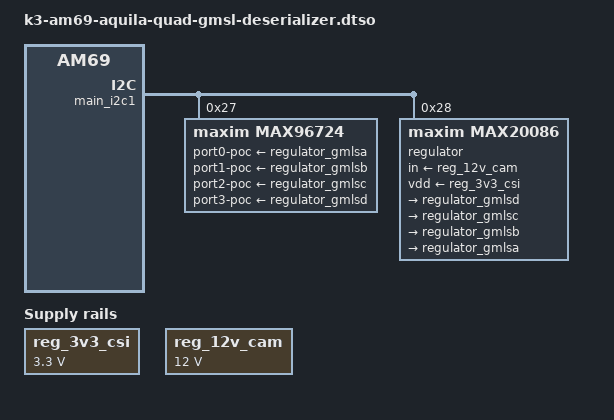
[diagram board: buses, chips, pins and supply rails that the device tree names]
// SPDX-License-Identifier: GPL-2.0-or-later OR MIT
/*
 * Aquila AM69 GMLS MAX96724 Deserializer
 *
 */

/dts-v1/;
/plugin/;

#include <dt-bindings/media/video-interfaces.h>

/ {
	compatible = "toradex,aquila-am69";
};

&{/} {
	reg_3v3_csi: regulator-3v3-csi {
		compatible = "regulator-fixed";
		regulator-name = "V_CSI";
		regulator-min-microvolt = <3300000>;
		regulator-max-microvolt = <3300000>;
	};

	reg_12v_cam: regulator-12v-cam {
		compatible = "regulator-fixed";
		regulator-name = "V_12V_IN";
		regulator-min-microvolt = <12000000>;
		regulator-max-microvolt = <12000000>;
	};
};

/* Aquila I2C_4_CSI1 */
&main_i2c1 {
	#address-cells = <1>;
	#size-cells = <0>;
	status = "okay";

	max96724: gmsl-deserializer@27 {
		compatible = "maxim,max96724";
		reg = <0x27>;
		port0-poc-supply = <&regulator_gmlsa>;
		port1-poc-supply = <&regulator_gmlsb>;
		port2-poc-supply = <&regulator_gmlsc>;
		port3-poc-supply = <&regulator_gmlsd>;
	};

	regulator@28 {
		compatible = "maxim,max20086";
		reg = <0x28>;
		in-supply = <&reg_12v_cam>;
		vdd-supply = <&reg_3v3_csi>;

		regulators {
			regulator_gmlsd: OUT1 {
				regulator-name = "VPOC_D";
			};

			regulator_gmlsc: OUT2 {
				regulator-name = "VPOC_C";
			};

			regulator_gmlsb: OUT3 {
				regulator-name = "VPOC_B";
			};

			regulator_gmlsa: OUT4 {
				regulator-name = "VPOC_A";
			};
		};
	};
};
